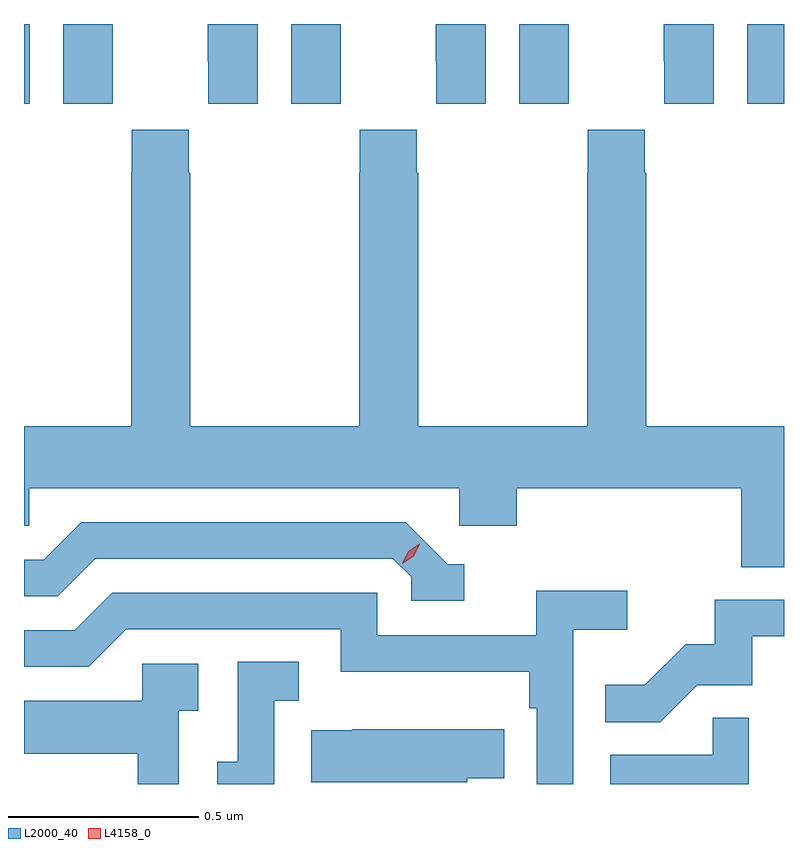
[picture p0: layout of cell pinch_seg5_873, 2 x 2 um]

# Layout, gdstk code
import gdstk
lib = gdstk.Library(unit=1e-6, precision=1e-09)
def R(c, l, rs):  # rectangles x0, y0, x1, y1
    for r in rs: c.add(gdstk.rectangle(r[:2], r[2:], *l))
def P(c, l, *ps):  # polygons
    for p in ps: c.add(gdstk.Polygon(p, *l))
L2000_40 = (2000, 40)
L4158_0 = (4158, 0)

pinch_seg5_873 = lib.new_cell('pinch_seg5_873')
R(pinch_seg5_873, L2000_40, [(821.809,877.752,821.824,877.962), (823.712,877.752,823.809,877.962)])
P(pinch_seg5_873, L2000_40, [(822.042,877.864),(822.043,877.864),(822.043,877.962),(821.912,877.962),(821.912,877.752),(822.042,877.752)],
  [(822.424,877.962),(822.293,877.962),(822.293,877.864),(822.294,877.864),(822.294,877.752),(822.424,877.752)],
  [(822.642,877.864),(822.643,877.864),(822.643,877.962),(822.512,877.962),(822.512,877.752),(822.642,877.752)],
  [(823.024,877.962),(822.893,877.962),(822.893,877.864),(822.894,877.864),(822.894,877.752),(823.024,877.752)],
  [(823.242,877.864),(823.243,877.864),(823.243,877.962),(823.112,877.962),(823.112,877.752),(823.242,877.752)],
  [(823.624,877.962),(823.493,877.962),(823.493,877.864),(823.494,877.864),(823.494,877.752),(823.624,877.752)],
  [(823.809,876.904),(823.446,876.904),(823.446,877.571),(823.443,877.571),(823.443,877.684),(823.293,877.684),(823.293,877.571),(823.291,877.571),(823.291,876.904),(822.846,876.904),(822.846,877.571),(822.843,877.571),(822.843,877.684),(822.693,877.684),(822.693,877.571),(822.691,877.571),(822.691,876.904),(822.246,876.904),(822.246,877.571),(822.243,877.571),(822.243,877.684),(822.093,877.684),(822.093,877.571),(822.091,877.571),(822.091,876.904),(821.809,876.904),(821.809,876.642),(821.823,876.642),(821.823,876.74),(822.954,876.74),(822.954,876.642),(823.106,876.642),(823.106,876.74),(823.697,876.74),(823.697,876.532),(823.809,876.532)],
  [(822.967,876.54),(822.924,876.54),(822.813,876.651),(821.96,876.651),(821.861,876.552),(821.809,876.552),(821.809,876.456),(821.898,876.456),(821.997,876.555),(822.78,876.555),(822.828,876.507),(822.828,876.444),(822.967,876.444)],
  [(823.254,876.368),(823.396,876.368),(823.396,876.47),(823.157,876.47),(823.157,876.354),(822.738,876.354),(822.738,876.465),(822.041,876.465),(821.942,876.366),(821.809,876.366),(821.809,876.27),(821.979,876.27),(822.078,876.369),(822.642,876.369),(822.642,876.257),(823.138,876.257),(823.138,876.161),(823.158,876.161),(823.158,875.962),(823.254,875.962)],
  [(823.581,876.222),(823.725,876.222),(823.725,876.351),(823.809,876.351),(823.809,876.447),(823.627,876.447),(823.627,876.33),(823.55,876.33),(823.443,876.223),(823.339,876.223),(823.339,876.124),(823.483,876.124)],
  [(822.468,876.181),(822.532,876.181),(822.532,876.284),(822.372,876.284),(822.372,876.021),(822.317,876.021),(822.317,875.962),(822.468,875.962)],
  [(822.216,876.155),(822.268,876.155),(822.268,876.279),(822.12,876.279),(822.12,876.181),(821.809,876.181),(821.809,876.041),(822.108,876.041),(822.108,875.962),(822.216,875.962)],
  [(823.716,876.137),(823.621,876.137),(823.621,876.039),(823.352,876.039),(823.352,875.962),(823.716,875.962)],
  [(822.975,875.977),(823.073,875.977),(823.073,876.106),(822.673,876.106),(822.673,876.103),(822.565,876.103),(822.565,875.966),(822.975,875.966)])
P(pinch_seg5_873, L4158_0, [(822.804,876.541),(822.804,876.541),(822.82,876.574),(822.85,876.594),(822.851,876.594),(822.851,876.593),(822.835,876.561),(822.804,876.541)])

lib.write_gds('pinch_seg5_873.gds')
